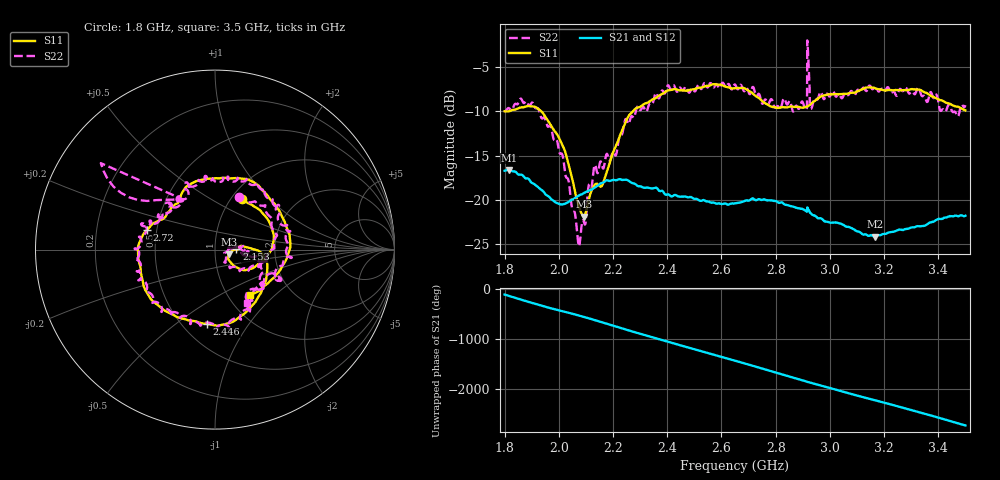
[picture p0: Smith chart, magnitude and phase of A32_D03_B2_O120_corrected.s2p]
! Created with skrf 1.9.0 (http://scikit-rf.org).
# Hz S RI R 50.0
!freq ReS11 ImS11 ReS21 ImS21 ReS12 ImS12 ReS22 ImS22
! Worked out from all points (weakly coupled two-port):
!   1601 points, 1.8 GHz to 3.5 GHz, reference 50 ohm
!   highest |S21| = -16.62 dB at 1.817 GHz (marker M1); lowest = -24.2 dB at 3.165 GHz (marker M2)
!   lowest |S11| = -21.9 dB at 2.092 GHz (marker M3), VSWR 1.17, Z = 58.2 - j3.02 ohm
!   |S11| at or under -10 dB: 1.80601 GHz to 1.812411 GHz (6.402 MHz wide, 0.354 % of centre); 1.936 GHz to 2.273 GHz (336.7 MHz wide, 16 % of centre)
!   |S22| runs from -25.2 to -2.0 dB; largest |S21 - S12| = 0.0026
!   S11 on the Smith chart (normalised r, x): 1.8 GHz: 1.12, +0.70; 2.153 GHz: 1.27, +0.01; 2.446 GHz: 0.65, -0.66; 2.72 GHz: 0.44, +0.11; 3.5 GHz: 1.26, -0.71
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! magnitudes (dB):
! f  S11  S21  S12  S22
! 1.8 GHz  -10.0  -16.7  -16.7  -9.9
! 1.817 GHz  -10.0  -16.6  -16.6  -9.6
! 1.903 GHz  -9.4  -18.1  -18.1  -9.0
! 1.968 GHz  -11.4  -19.8  -19.8  -11.6
! 2.015 GHz  -13.9  -20.5  -20.5  -15.1
! 2.072 GHz  -20.6  -19.6  -19.6  -25.0
! 2.084 GHz  -21.5  -19.4  -19.3  -23.0
! 2.092 GHz  -21.9  -19.2  -19.3  -22.5
! 2.129 GHz  -18.5  -18.7  -18.7  -16.4
! 2.153 GHz  -18.5  -18.2  -18.2  -15.7
! 2.258 GHz  -10.5  -17.9  -17.8  -11.4
! 2.367 GHz  -8.3  -18.9  -18.8  -8.5
! 2.446 GHz  -7.6  -19.6  -19.6  -7.3
! 2.65 GHz  -7.4  -20.4  -20.4  -6.9
! 2.72 GHz  -8.1  -19.9  -19.8  -7.4
! 2.868 GHz  -9.5  -20.8  -20.8  -9.9
! 2.907 GHz  -9.5  -21.2  -21.1  -9.6
! 2.925 GHz  -9.3  -21.3  -21.3  -7.4
! 2.934 GHz  -9.1  -21.7  -21.6  -9.5
! 3.165 GHz  -7.4  -24.2  -24.1  -7.2
! 3.217 GHz  -7.6  -23.7  -23.7  -7.4
! 3.5 GHz  -9.9  -21.8  -21.8  -9.3
